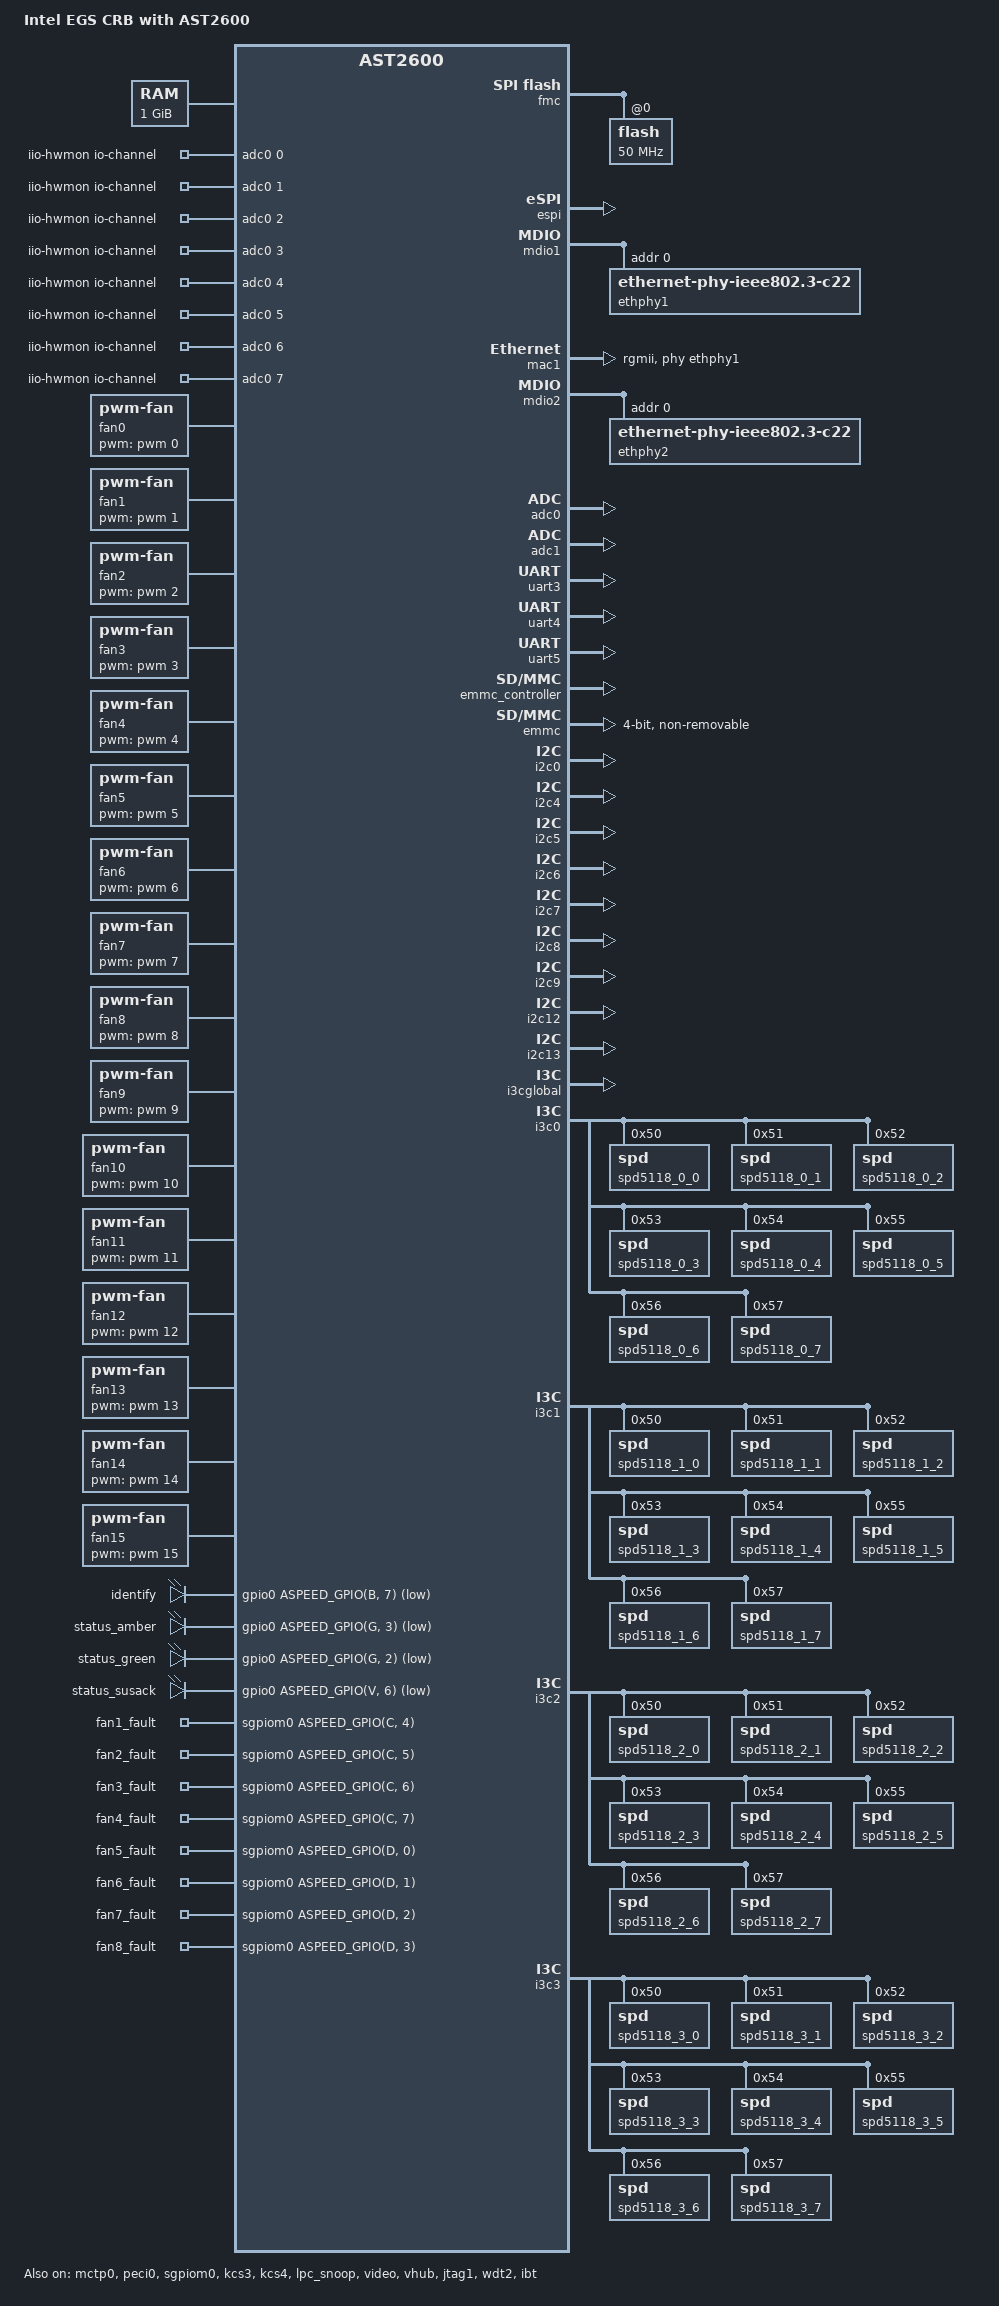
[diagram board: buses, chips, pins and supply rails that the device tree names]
// SPDX-License-Identifier: GPL-2.0+
/dts-v1/;

#include "aspeed-g6.dtsi"
#include <dt-bindings/gpio/aspeed-gpio.h>
#include <dt-bindings/i2c/i2c.h>

/ {
	model = "Intel EGS CRB with AST2600";
	compatible = "aspeed,ast2600";

	aliases {
		serial4 = &uart5;
	};

	chosen {
		stdout-path = &uart5;
		bootargs = "console=ttyS4,115200n8 root=/dev/ram rw init=/linuxrc earlyprintk";
	};

	memory@80000000 {
		device_type = "memory";
		reg = <0x80000000 0x40000000>;
	};

	reserved-memory {
		#address-cells = <1>;
		#size-cells = <1>;
		ranges;

		gfx_memory: framebuffer {
			size = <0x01000000>;
			alignment = <0x01000000>;
			compatible = "shared-dma-pool";
			reusable;
		};

		video_engine_memory: jpegbuffer {
			size = <0x04000000>;
			alignment = <0x01000000>;
			compatible = "shared-dma-pool";
			reusable;
		};
	};

	vga-shared-memory {
		compatible = "aspeed,ast2500-vga-sharedmem";
		reg = <0x9f700000 0x100000>;
	};

	iio-hwmon {
		compatible = "iio-hwmon";
		io-channels = <&adc0 0>, <&adc0 1>, <&adc0 2>, <&adc0 3>,
			<&adc0 4>, <&adc0 5>, <&adc0 6>, <&adc0 7>,
			<&adc1 0>, <&adc1 1>, <&adc1 2>, <&adc1 3>,
			<&adc1 4>, <&adc1 5>, <&adc1 6>, <&adc1 7>;
	};

	fan0: pwm-fan0 {
		compatible = "pwm-fan";
		pwms = <&pwm 0 40000 0>;	/* Target freq:25 kHz */
		cooling-min-state = <0>;
		cooling-max-state = <3>;
		#cooling-cells = <2>;
		cooling-levels = <0 25 128 255>;
	};

	fan1: pwm-fan1 {
		compatible = "pwm-fan";
		pwms = <&pwm 1 40000 0>;	/* Target freq:25 kHz */
		cooling-min-state = <0>;
		cooling-max-state = <3>;
		#cooling-cells = <2>;
		cooling-levels = <0 15 128 255>;
	};

	fan2: pwm-fan2 {
		compatible = "pwm-fan";
		pwms = <&pwm 2 40000 0>;	/* Target freq:25 kHz */
		cooling-min-state = <0>;
		cooling-max-state = <3>;
		#cooling-cells = <2>;
		cooling-levels = <0 15 128 255>;
	};

	fan3: pwm-fan3 {
		compatible = "pwm-fan";
		pwms = <&pwm 3 1 40000 0>;	  /* Target freq:25 kHz */
		cooling-min-state = <0>;
		cooling-max-state = <3>;
		#cooling-cells = <2>;
		cooling-levels = <0 15 128 255>;
	};

	fan4: pwm-fan4 {
		compatible = "pwm-fan";
		pwms = <&pwm 4 1 40000 0>;	  /* Target freq:25 kHz */
		cooling-min-state = <0>;
		cooling-max-state = <3>;
		#cooling-cells = <2>;
		cooling-levels = <0 15 128 255>;
	};

	fan5: pwm-fan5 {
		compatible = "pwm-fan";
		pwms = <&pwm 5 1 40000 0>;	  /* Target freq:25 kHz */
		cooling-min-state = <0>;
		cooling-max-state = <3>;
		#cooling-cells = <2>;
		cooling-levels = <0 15 128 255>;
	};

	fan6: pwm-fan6 {
		compatible = "pwm-fan";
		pwms = <&pwm 6 1 40000 0>;	  /* Target freq:25 kHz */
		cooling-min-state = <0>;
		cooling-max-state = <3>;
		#cooling-cells = <2>;
		cooling-levels = <0 15 128 255>;
	};

	fan7: pwm-fan7 {
		compatible = "pwm-fan";
		pwms = <&pwm 7 1 40000 0>;	  /* Target freq:25 kHz */
		cooling-min-state = <0>;
		cooling-max-state = <3>;
		#cooling-cells = <2>;
		cooling-levels = <0 15 128 255>;
	};

	fan8: pwm-fan8 {
		compatible = "pwm-fan";
		pwms = <&pwm 8 1 40000 0>;	  /* Target freq:25 kHz */
		cooling-min-state = <0>;
		cooling-max-state = <3>;
		#cooling-cells = <2>;
		cooling-levels = <0 15 128 255>;
	};

	fan9: pwm-fan9 {
		compatible = "pwm-fan";
		pwms = <&pwm 9 40000 0>;	/* Target freq:25 kHz */
		cooling-min-state = <0>;
		cooling-max-state = <3>;
		#cooling-cells = <2>;
		cooling-levels = <0 15 128 255>;
	};

	fan10: pwm-fan10 {
		compatible = "pwm-fan";
		pwms = <&pwm 10 40000 0>;	 /* Target freq:25 kHz */
		cooling-min-state = <0>;
		cooling-max-state = <3>;
		#cooling-cells = <2>;
		cooling-levels = <0 15 128 255>;
	};

	fan11: pwm-fan11 {
		compatible = "pwm-fan";
		pwms = <&pwm 11 40000 0>;	 /* Target freq:25 kHz */
		cooling-min-state = <0>;
		cooling-max-state = <3>;
		#cooling-cells = <2>;
		cooling-levels = <0 15 128 255>;
	};

	fan12: pwm-fan12 {
		compatible = "pwm-fan";
		pwms = <&pwm 12 40000 0>;	 /* Target freq:25 kHz */
		cooling-min-state = <0>;
		cooling-max-state = <3>;
		#cooling-cells = <2>;
		cooling-levels = <0 15 128 255>;
	};

	fan13: pwm-fan13 {
		compatible = "pwm-fan";
		pwms = <&pwm 13 40000 0>;	 /* Target freq:25 kHz */
		cooling-min-state = <0>;
		cooling-max-state = <3>;
		#cooling-cells = <2>;
		cooling-levels = <0 15 128 255>;
	};

	fan14: pwm-fan14 {
		compatible = "pwm-fan";
		pwms = <&pwm 14 40000 0>;	 /* Target freq:25 kHz */
		cooling-min-state = <0>;
		cooling-max-state = <3>;
		#cooling-cells = <2>;
		cooling-levels = <0 15 128 255>;
	};

	fan15: pwm-fan15 {
		compatible = "pwm-fan";
		pwms = <&pwm 15 40000 0>;	 /* Target freq:25 kHz */
		cooling-min-state = <0>;
		cooling-max-state = <3>;
		#cooling-cells = <2>;
		cooling-levels = <0 15 128 255>;
	};

	leds {
		compatible = "gpio-leds";

		identify {
			default-state = "off";
			gpios = <&gpio0 ASPEED_GPIO(B, 7) GPIO_ACTIVE_LOW>;
		};

		status_amber {
			default-state = "off";
			gpios = <&gpio0 ASPEED_GPIO(G, 3) GPIO_ACTIVE_LOW>;
		};

		status_green {
			default-state = "keep";
			gpios = <&gpio0 ASPEED_GPIO(G, 2) GPIO_ACTIVE_LOW>;
		};

		status_susack {
			default-state = "off";
			gpios = <&gpio0 ASPEED_GPIO(V, 6) GPIO_ACTIVE_LOW>;
		};

		fan1_fault {
			default-state = "off";
			gpios = <&sgpiom0 ASPEED_GPIO(C, 4) GPIO_ACTIVE_HIGH>;
		};

		fan2_fault {
			default-state = "off";
			gpios = <&sgpiom0 ASPEED_GPIO(C, 5) GPIO_ACTIVE_HIGH>;
		};

		fan3_fault {
			default-state = "off";
			gpios = <&sgpiom0 ASPEED_GPIO(C, 6) GPIO_ACTIVE_HIGH>;
		};

		fan4_fault {
			default-state = "off";
			gpios = <&sgpiom0 ASPEED_GPIO(C, 7) GPIO_ACTIVE_HIGH>;
		};

		fan5_fault {
			default-state = "off";
			gpios = <&sgpiom0 ASPEED_GPIO(D, 0) GPIO_ACTIVE_HIGH>;
		};

		fan6_fault {
			default-state = "off";
			gpios = <&sgpiom0 ASPEED_GPIO(D, 1) GPIO_ACTIVE_HIGH>;
		};

		fan7_fault {
			default-state = "off";
			gpios = <&sgpiom0 ASPEED_GPIO(D, 2) GPIO_ACTIVE_HIGH>;
		};

		fan8_fault {
			default-state = "off";
			gpios = <&sgpiom0 ASPEED_GPIO(D, 3) GPIO_ACTIVE_HIGH>;
		};
	};
};

&fmc {
	status = "okay";
	flash@0 {
		status = "okay";
		spi-max-frequency = <50000000>;
		spi-tx-bus-width = <1>;
		spi-rx-bus-width = <4>;
		m25p,fast-read;
#include "aspeed-evb-flash-layout-64.dtsi"
	};
};

&espi {
	status = "okay";
	perif-dma-mode;
	oob-dma-mode;
	flash-dma-mode;
};

&mctp0 {
	status = "okay";
};

&peci0 {
	status = "okay";
	gpios = <&gpio0 ASPEED_GPIO(F, 6) 0>;
};

&syscon {
	mac0-clk-delay = <0x1d 0x1c
			  0x10 0x17
			  0x10 0x17>;
	mac1-clk-delay = <0x1d 0x10
			  0x10 0x10
			  0x10 0x10>;
	mac2-clk-delay = <0x0a 0x04
			  0x08 0x04
			  0x08 0x04>;
	mac3-clk-delay = <0x0a 0x04
			  0x08 0x04
			  0x08 0x04>;
};

#if 0
GPIO Alias: (runtime alias -> schematic name)
	ID_BUTTON -> FP_ID_BTN_N
	CPU_CATERR -> FM_PLT_BMC_THERMTRIP_N
	PCH_BMC_THERMTRIP -> FM_PLT_BMC_THERMTRIP_N
	RESET_BUTTON -> FP_BMC_RST_BTN_N
	RESET_OUT -> RST_BMC_RSTBTN_OUT_R_N
	POWER_BUTTON -> FP_BMC_PWR_BTN_R_N
	POWER_OUT -> FM_BMC_PWR_BTN_N
	PREQ_N -> DBP_ASD_BMC_PREQ_R_N
	POST_COMPLETE -> FM_BIOS_POST_CMPLT_BMC_N
	CPU_ERR0 -> FM_CPU_ERR0_LVT3_N
	CPU_ERR1 -> FM_CPU_ERR1_LVT3_N
	CPU_ERR2 -> FM_CPU_ERR2_LVT3_N
	DEBUG_EN_N -> FM_JTAG_TCK_MUX_SEL_R
	NMI_OUT -> IRQ_BMC_CPU_NMI_R
	PLTRST_N -> RST_PLTRST_BMC_N
	PRDY_N -> DBP_ASD_BMC_PRDY_R_N
	PWR_DEBUG_N ->
	XDP_PRST_N ->
	SYSPWROK ->
	RSMRST_N ->
	SIO_S3 -> FM_SLPS3_R_N
	SIO_S5 -> FM_SLPS4_R_N
	SIO_ONCONTROL -> FM_BMC_ONCTL_R_N
	SIO_POWER_GOOD -> PWRGD_CPU0_LVC3_R
	PS_PWROK -> PWRGD_BMC_PS_PWROK_R
	P3VBAT_BRIDGE_EN ->
	TCK_MUX_SEL ->
	SMI -> IRQ_SMI_ACTIVE_BMC_N
	NMI_BUTTON -> FP_NMI_BTN_N
#endif
&gpio0 {
	status = "okay";
	/*
	 * Enable GPIOP0 and GPIOP2 pass-through by default
	 */
	/*
	 * pinctrl-names = "pass-through";
	 * pinctrl-0 = <&pinctrl_thru0_default
	 *              &pinctrl_thru1_default>;
	 */
	gpio-line-names =
	/*A0-A7*/	"","","","","SMB_CPU_PIROM_SCL","SMB_CPU_PIROM_SDA","SMB_IPMB_STBY_LVC3_R_SCL","SMB_IPMB_STBY_LVC3_R_SDA",
	/*B0-B7*/	"FM_1200VA_OC","NMI_OUT","IRQ_SMB3_M2_ALERT_N","","RGMII_BMC_RMM4_LVC3_R_MDC","RGMII_BMC_RMM4_LVC3_R_MDIO","FM_BMC_BMCINIT_R","FP_ID_LED_N",
	/*C0-C7*/	"FM_FORCE_BMC_UPDATE_N","RST_RGMII_PHYRST_N","FM_TPM_EN_PULSE","FM_BMC_CRASHLOG_TRIG_N","IRQ_BMC_PCH_NMI_R","FM_CPU1_DISABLE_COD_N","FM_4S_8S_N_MODE","FM_STANDALONE_MODE_N",
	/*D0-D7*/	"CPU_ERR0","CPU_ERR1","CPU_ERR2","PRDY_N","FM_SPD_SWITCH_CTRL_N","","","",
	/*E0-E7*/	"FM_SKT1_FAULT_LED","FM_SKT0_FAULT_LED","CLK_50M_CKMNG_BMCB","FM_BMC_BOARD_REV_ID2_N","","","","",
	/*F0-F7*/	"FM_BMC_BOARD_SKU_ID0_N","FM_BMC_BOARD_SKU_ID1_N","FM_BMC_BOARD_SKU_ID2_N","FM_BMC_BOARD_SKU_ID3_N","FM_BMC_BOARD_SKU_ID4_N","FM_BMC_BOARD_SKU_ID5_N","ID_BUTTON","PS_PWROK",
	/*G0-G7*/	"FM_SMB_BMC_NVME_LVC3_ALERT_N","RST_BMC_I2C_M2_R_N","FP_LED_STATUS_GREEN_N","FP_LED_STATUS_AMBER_N","FM_BMC_BOARD_REV_ID0_N","FM_BMC_BOARD_REV_ID1_N","FM_BMC_CPU_FBRK_OUT_R_N","DBP_PRESENT_IN_R2_N",
	/*H0-H7*/	"SGPIO_BMC_CLK_R","SGPIO_BMC_LD_R","SGPIO_BMC_DOUT_R","SGPIO_BMC_DIN","PLTRST_N","CPU_CATERR","PCH_BMC_THERMTRIP","",
	/*I0-I7*/	"JTAG_ASD_NTRST_R_N","JTAG_ASD_TDI_R","JTAG_ASD_TCK_R","JTAG_ASD_TMS_R","JTAG_ASD_TDO","FM_BMC_PWRBTN_OUT_R_N","FM_BMC_PWR_BTN_N","",
	/*J0-J7*/	"SMB_CHASSENSOR_STBY_LVC3_SCL","SMB_CHASSENSOR_STBY_LVC3_SDA","FM_NODE_ID0","FM_NODE_ID1","","","","",
	/*K0-K7*/	"SMB_HSBP_STBY_LVC3_R_SCL","SMB_HSBP_STBY_LVC3_R_SDA","SMB_SMLINK0_STBY_LVC3_R2_SCL","SMB_SMLINK0_STBY_LVC3_R2_SDA","SMB_TEMPSENSOR_STBY_LVC3_R_SCL","SMB_TEMPSENSOR_STBY_LVC3_R_SDA","SMB_PMBUS_SML1_STBY_LVC3_R_SCL","SMB_PMBUS_SML1_STBY_LVC3_R_SDA",
	/*L0-L7*/	"SMB_PCIE_STBY_LVC3_R_SCL","SMB_PCIE_STBY_LVC3_R_SDA","SMB_HOST_STBY_BMC_LVC3_R_SCL","SMB_HOST_STBY_BMC_LVC3_R_SDA","PREQ_N","TCK_MUX_SEL","V_BMC_GFX_HSYNC_R","V_BMC_GFX_VSYNC_R",
	/*M0-M7*/	"SPA_CTS_N","SPA_DCD_N","SPA_DSR_N","PU_SPA_RI_N","SPA_DTR_N","SPA_RTS_N","SPA_SOUT","SPA_SIN",
	/*N0-N7*/	"SPB_CTS_N","SPB_DCD_N","SPB_DSR_N","PU_SPB_RI_N","SPB_DTR_N","SPB_RTS_N","SPB_SOUT","SPB_SIN",
	/*O0-O7*/	"FAN_BMC_PWM0","FAN_BMC_PWM1","FAN_BMC_PWM2","FAN_BMC_PWM3","FAN_BMC_PWM4","FAN_BMC_PWM5","NMI_BUTTON","SPEAKER_BMC_R",
	/*P0-P7*/	"RESET_BUTTON","RESET_OUT","POWER_BUTTON","POWER_OUT","FAN_BMC_PWM6","FAN_BMC_PWM7","FAN_BMC_PWM8","FAN_BMC_PWM9",
	/*Q0-Q7*/	"FAN_BMC_TACH0","FAN_BMC_TACH1","FAN_BMC_TACH2","FAN_BMC_TACH3","FAN_BMC_TACH4","FAN_BMC_TACH5","FAN_BMC_TACH6","FAN_BMC_TACH7",
	/*R0-R7*/	"FAN_BMC_TACH8","FAN_BMC_TACH9","","","","","","",
	/*S0-S7*/	"RST_BMC_PCIE_MUX_N","FM_BMC_EUP_LOT6_N","","","","A_P3V_BAT_SCALED_EN","REMOTE_DEBUG_ENABLE","FM_PCHHOT_N",
	/*T0-T7*/	"A_P12V_PSU_SCALED","A_P12V_AUX_SCALED","A_P3V3_SCALED","A_P5V_SCALED","A_PVNN_PCH_AUX_SENSOR","A_P1V05_PCH_AUX_SENSOR","A_P1V8_AUX_SENSOR","A_P3V_BAT_SCALED",
	/*U0-U7*/	"A_PVCCIN_CPU0_SENSOR","A_PVCCIN_CPU1_SENSOR","A_PVCCINFAON_CPU0_SENSOR","A_PVCCINFAON_CPU1_SENSOR","A_PVCCFA_EHV_FIVRA_CPU0_SENSOR","A_PVCCFA_EHV_FIVRA_CPU1_SENSOR","A_PVCCD_HV_CPU0_SENSOR","A_PVCCD_HV_CPU1_SENSOR",
	/*V0-V7*/	"SIO_S3","SIO_S5","TP_BMC_SIO_PWREQ_N","SIO_ONCONTROL","SIO_POWER_GOOD","LED_BMC_HB_LED_N","FM_BMC_SUSACK_N","",
	/*W0-W7*/	"LPC_LAD0_ESPI_R_IO0","LPC_LAD1_ESPI_R_IO1","LPC_LAD2_ESPI_R_IO2","LPC_LAD3_ESPI_R_IO3","CLK_24M_66M_LPC0_ESPI_BMC","LPC_LFRAME_N_ESPI_CS0_BMC_N","IRQ_LPC_SERIRQ_ESPI_ALERT_N","RST_LPC_LRST_ESPI_RST_BMC_R_N",
	/*X0-X7*/	"","SMI","POST_COMPLETE","","","","","",
	/*Y0-Y7*/	"","IRQ_SML0_ALERT_BMC_R2_N","","IRQ_SML1_PMBUS_BMC_ALERT_N","SPI_BMC_BOOT_R_IO2","SPI_BMC_BOOT_R_IO3","PU_SPI_BMC_BOOT_ABR","PU_SPI_BMC_BOOT_WP_N",
	/*Z0-Z7*/	"PWRGD_P3V3_RISER1","PWRGD_P3V3_RISER2","","HW_STRAP_5","HW_STRAP_6","HW_STRAP_7","HW_STRAP_2","HW_STRAP_3";
};

&gpio1 {
	status = "okay";
	gpio-line-names = /* GPIO18 A-E */
	/*A0-A7*/	"","","RST_EMMC_BMC_R_N","FM_SYS_FAN6_PRSNT_D_N","FM_SYS_FAN0_PRSNT_D_N","FM_SYS_FAN1_PRSNT_D_N","FM_SYS_FAN2_PRSNT_D_N","FM_SYS_FAN3_PRSNT_D_N",
	/*B0-B7*/	"FM_SYS_FAN4_PRSNT_D_N","FM_SYS_FAN5_PRSNT_D_N","","FM_SYS_FAN7_PRSNT_D_N","RGMII_BMC_RMM4_TX_R_CLK","RGMII_BMC_RMM4_TX_R_CTRL","RGMII_BMC_RMM4_R_TXD0","RGMII_BMC_RMM4_R_TXD1",
	/*C0-C7*/	"RGMII_BMC_RMM4_R_TXD2","RGMII_BMC_RMM4_R_TXD3","RGMII_BMC_RMM4_RX_CLK","RGMII_BMC_RMM4_RX_CTRL","RGMII_BMC_RMM4_RXD0","RGMII_BMC_RMM4_RXD1","RGMII_BMC_RMM4_RXD2","RGMII_BMC_RMM4_RXD3",
	/*D0-D7*/	"EMMC_BMC_R_CLK","EMMC_BMC_R_CMD","EMMC_BMC_R_DATA0","EMMC_BMC_R_DATA1","EMMC_BMC_R_DATA2","EMMC_BMC_R_DATA3","EMMC_BMC_CD_N","EMMC_BMC_WP_N",
	/*E0-E3*/	"EMMC_BMC_R_DATA4","EMMC_BMC_R_DATA5","EMMC_BMC_R_DATA6","EMMC_BMC_R_DATA7";
};

&sgpiom0 {
	status = "okay";
	ngpios = <96>;
#if 0
SGPIO Alias: (runtime alias -> net name)
	CPU1_PRESENCE -> FM_CPU0_SKTOCC_LVT3_N
	CPU1_THERMTRIP -> H_CPU0_THERMTRIP_LVC1_N
	CPU1_VRHOT -> IRQ_CPU0_VRHOT_N
	CPU1_FIVR_FAULT -> H_CPU0_MON_FAIL_LVC1_N
	CPU1_MEM_VRHOT -> IRQ_CPU0_MEM_VRHOT_N
	CPU1_MEM_THERM_EVENT -> H_CPU0_MEMHOT_OUT_LVC1_N
	CPU1_MISMATCH -> FM_CPU0_MISMATCH
	CPU2_PRESENCE -> FM_CPU1_SKTOCC_LVT3_N
	CPU2_THERMTRIP -> H_CPU1_THERMTRIP_LVC1_N
	CPU2_VRHOT -> IRQ_CPU1_VRHOT_N
	CPU2_FIVR_FAULT -> H_CPU1_MON_FAIL_LVC1_N
	CPU2_MEM_VRHOT -> IRQ_CPU1_MEM_VRHOT_N
	CPU2_MEM_THERM_EVENT -> H_CPU1_MEMHOT_OUT_LVC1_N
	CPU2_MISMATCH -> FM_CPU1_MISMATCH
#endif
	gpio-line-names =
		"CPU1_PRESENCE","","CPU1_THERMTRIP","","CPU1_VRHOT","","CPU1_FIVR_FAULT","",
		"CPU1_MEM_VRHOT","","CPU1_MEM_THERM_EVENT","","FM_CPU0_PROC_ID0","","FM_CPU0_PROC_ID1","",
		"CPU1_MISMATCH","LED_CPU1_CH1_DIMM1_FAULT","","LED_CPU1_CH1_DIMM2_FAULT","CPU2_PRESENCE","LED_CPU1_CH2_DIMM1_FAULT","CPU2_THERMTRIP","LED_CPU1_CH2_DIMM2_FAULT",
		"CPU2_VRHOT","LED_CPU1_CH3_DIMM1_FAULT","CPU2_FIVR_FAULT","LED_CPU1_CH3_DIMM2_FAULT","CPU2_MEM_VRHOT","LED_CPU1_CH4_DIMM1_FAULT","CPU2_MEM_THERM_EVENT","LED_CPU1_CH4_DIMM2_FAULT",
		"FM_CPU1_PROC_ID0","LED_CPU1_CH5_DIMM1_FAULT","FM_CPU1_PROC_ID1","LED_CPU1_CH5_DIMM2_FAULT","CPU2_MISMATCH","LED_CPU1_CH6_DIMM1_FAULT","","LED_CPU1_CH6_DIMM2_FAULT",
		"","LED_FAN1_FAULT","","LED_FAN2_FAULT","","LED_FAN3_FAULT","","LED_FAN4_FAULT",
		"","LED_FAN5_FAULT","","LED_FAN6_FAULT","","LED_FAN7_FAULT","","LED_FAN8_FAULT",
		"","LED_CPU2_CH1_DIMM1_FAULT","","LED_CPU1_CH1_DIMM2_FAULT","","LED_CPU2_CH2_DIMM1_FAULT","","LED_CPU2_CH2_DIMM2_FAULT",
		"","LED_CPU2_CH3_DIMM1_FAULT","","LED_CPU2_CH3_DIMM2_FAULT","","LED_CPU2_CH4_DIMM1_FAULT","","LED_CPU2_CH4_DIMM2_FAULT",
		"","LED_CPU2_CH5_DIMM1_FAULT","","LED_CPU2_CH5_DIMM2_FAULT","","LED_CPU2_CH6_DIMM1_FAULT","","LED_CPU2_CH6_DIMM2_FAULT",
		"CPU1_CPLD_CRC_ERROR","","CPU2_CPLD_CRC_ERROR","","","","","",
		"","","","","","","","",
		"MAIN_PLD_MINOR_REV_BIT0","","MAIN_PLD_MINOR_REV_BIT1","","MAIN_PLD_MINOR_REV_BIT2","","MAIN_PLD_MINOR_REV_BIT3","",
		"MAIN_PLD_MAJOR_REV_BIT0","","MAIN_PLD_MAJOR_REV_BIT1","","MAIN_PLD_MAJOR_REV_BIT2","","MAIN_PLD_MAJOR_REV_BIT3","",
		"","","WMEMX_PWR_FLT","","WCPUX_MEM_PWR_FLT","","PWRGD_P3V3_FF","",
		"WPSU_PWR_FLT","","","","","","WPCH_PWR_FLT","",
		"FM_CPU0_PKGID0","LED_CPU1_CH7_DIMM1_FAULT","FM_CPU0_PKGID1","LED_CPU1_CH7_DIMM2_FAULT","FM_CPU0_PKGID2","LED_CPU1_CH8_DIMM1_FAULT","H_CPU0_MEMTRIP_LVC1_N","LED_CPU1_CH8_DIMM2_FAULT",
		"FM_CPU1_PKGID0","LED_CPU2_CH7_DIMM1_FAULT","FM_CPU1_PKGID1","LED_CPU2_CH7_DIMM2_FAULT","FM_CPU1_PKGID2","LED_CPU2_CH8_DIMM1_FAULT","H_CPU1_MEMTRIP_LVC1_N","LED_CPU2_CH8_DIMM2_FAULT",
		"","","","","","","","",
		"","","","","","","","",
		"","","","","","","","",
		"","","","","","","","",
		"","","","","","","","",
		"","","","","","","","";
};

&kcs3 {
	kcs_addr = <0xca2>;
	status = "okay";
};

&kcs4 {
	kcs_addr = <0xca4>;
	status = "okay";
};

&lpc_snoop {
	snoop-ports = <0x80>;
	status = "okay";
};

&mbox {
	status = "okay";
};

&mdio1 {
	status = "okay";

	ethphy1: ethernet-phy@0 {
		compatible = "ethernet-phy-ieee802.3-c22";
		reg = <0>;
	};
};

&mac1 {
	status = "okay";
	pinctrl-names = "default";
	pinctrl-0 = <&pinctrl_rgmii2_default>;
	clocks = <&syscon ASPEED_CLK_GATE_MAC2CLK>,
		 <&syscon ASPEED_CLK_MAC2RCLK>;
	clock-names = "MACCLK", "RCLK";
	phy-mode = "rgmii";
	phy-handle = <&ethphy1>;
};

&mdio2 {
	status = "okay";

	ethphy2: ethernet-phy@1 {
		compatible = "ethernet-phy-ieee802.3-c22";
		reg = <0>;
	};
};

&adc0 {
	vref = <2500>;
	status = "okay";

	pinctrl-names = "default";
	pinctrl-0 = <&pinctrl_adc0_default &pinctrl_adc1_default
		&pinctrl_adc2_default &pinctrl_adc3_default
		&pinctrl_adc4_default &pinctrl_adc5_default
		&pinctrl_adc6_default &pinctrl_adc7_default>;
};

&adc1 {
	vref = <2500>;
	status = "okay";

	pinctrl-names = "default";
	pinctrl-0 = <&pinctrl_adc8_default &pinctrl_adc9_default
		&pinctrl_adc10_default &pinctrl_adc11_default
		&pinctrl_adc12_default &pinctrl_adc13_default
		&pinctrl_adc14_default &pinctrl_adc15_default>;
};

&uart3 {
	status = "okay";
};

&uart4 {
	status = "okay";
};

&uart5 {
	status = "okay";
};

&emmc_controller{
	status = "okay";
	timing-phase = <0x700FF>;
};

&emmc {
	status = "okay";

	non-removable;
	max-frequency = <100000000>;
	sdhci-drive-type = /bits/ 8 <3>;
	bus-width = <4>;
};

&i2c0 {
	/* SMB_CHASSENSOR_STBY_LVC3 */
	multi-master;
	status = "okay";
};

&i2c4 {
	/* SMB_HSBP_STBY_LVC3_R */
	multi-master;
	status = "okay";
};

&i2c5 {
	/* SMB_SMLINK0_STBY_LVC3_R2 */
	bus-frequency = <1000000>;
	multi-master;
	status = "okay";
};

&i2c6 {
	/* SMB_TEMPSENSOR_STBY_LVC3_R */
	multi-master;
	status = "okay";
};

&i2c7 {
	/* SMB_PMBUS_SML1_STBY_LVC3_R */
	multi-master;
	#retries = <3>;
	status = "okay";
};

&i2c8 {
	/* SMB_PCIE_STBY_LVC3_R */
	multi-master;
	status = "okay";
};

&i2c9 {
	/* SMB_HOST_STBY_BMC_LVC3_R */
	multi-master;
	status = "okay";
};

&i2c12 {
	/* SMB_CPU_PIROM */
	multi-master;
	status = "okay";
};

&i2c13 {
	/* SMB_IPMB_STBY_LVC3_R */
	multi-master;
	status = "okay";
};

&i3cglobal {
	status = "okay";
};

&i3c0 {
	/* I3C_SPD_DDRABCD_CPU0_BMC */
	status = "okay";
	jdec-spd;

	/* Renesas SPD5118 */
	spd5118_0_0: spd@50,3C000000000 {
		reg = <0x50 0x3C0 0x00000000>;
		assigned-address = <0x50>;
	};

	/* Renesas SPD5118 */
	spd5118_0_1: spd@51,3C000000001 {
		reg = <0x51 0x3C0 0x00000001>;
		assigned-address = <0x51>;
	};

	/* Renesas SPD5118 */
	spd5118_0_2: spd@52,3C000000002 {
		reg = <0x52 0x3C0 0x00000002>;
		assigned-address = <0x52>;
	};

	/* Renesas SPD5118 */
	spd5118_0_3: spd@53,3C000000003 {
		reg = <0x53 0x3C0 0x00000003>;
		assigned-address = <0x53>;
	};

	/* Renesas SPD5118 */
	spd5118_0_4: spd@54,3C000000004 {
		reg = <0x54 0x3C0 0x00000004>;
		assigned-address = <0x54>;
	};

	/* Renesas SPD5118 */
	spd5118_0_5: spd@55,3C000000005 {
		reg = <0x55 0x3C0 0x00000005>;
		assigned-address = <0x55>;
	};

	/* Renesas SPD5118 */
	spd5118_0_6: spd@56,3C000000006 {
		reg = <0x56 0x3C0 0x00000006>;
		assigned-address = <0x56>;
	};

	/* Renesas SPD5118 */
	spd5118_0_7: spd@57,3C000000007 {
		reg = <0x57 0x3C0 0x00000007>;
		assigned-address = <0x57>;
	};
};

&i3c1 {
	/* I3C_SPD_DDREFGH_CPU0_BMC */
	status = "okay";
	jdec-spd;

	/* Renesas SPD5118 */
	spd5118_1_0: spd@50,3C000000000 {
		reg = <0x50 0x3C0 0x00000000>;
		assigned-address = <0x50>;
	};

	/* Renesas SPD5118 */
	spd5118_1_1: spd@51,3C000000001 {
		reg = <0x51 0x3C0 0x00000001>;
		assigned-address = <0x51>;
	};

	/* Renesas SPD5118 */
	spd5118_1_2: spd@52,3C000000002 {
		reg = <0x52 0x3C0 0x00000002>;
		assigned-address = <0x52>;
	};

	/* Renesas SPD5118 */
	spd5118_1_3: spd@53,3C000000003 {
		reg = <0x53 0x3C0 0x00000003>;
		assigned-address = <0x53>;
	};

	/* Renesas SPD5118 */
	spd5118_1_4: spd@54,3C000000004 {
		reg = <0x54 0x3C0 0x00000004>;
		assigned-address = <0x54>;
	};

	/* Renesas SPD5118 */
	spd5118_1_5: spd@55,3C000000005 {
		reg = <0x55 0x3C0 0x00000005>;
		assigned-address = <0x55>;
	};

	/* Renesas SPD5118 */
	spd5118_1_6: spd@56,3C000000006 {
		reg = <0x56 0x3C0 0x00000006>;
		assigned-address = <0x56>;
	};

	/* Renesas SPD5118 */
	spd5118_1_7: spd@57,3C000000007 {
		reg = <0x57 0x3C0 0x00000007>;
		assigned-address = <0x57>;
	};
};

&i3c2 {
	/* I3C_SPD_DDRABCD_CPU1_BMC */
	status = "okay";
	jdec-spd;

	/* Renesas SPD5118 */
	spd5118_2_0: spd@50,3C000000000 {
		reg = <0x50 0x3C0 0x00000000>;
		assigned-address = <0x50>;
	};

	/* Renesas SPD5118 */
	spd5118_2_1: spd@51,3C000000001 {
		reg = <0x51 0x3C0 0x00000001>;
		assigned-address = <0x51>;
	};

	/* Renesas SPD5118 */
	spd5118_2_2: spd@52,3C000000002 {
		reg = <0x52 0x3C0 0x00000002>;
		assigned-address = <0x52>;
	};

	/* Renesas SPD5118 */
	spd5118_2_3: spd@53,3C000000003 {
		reg = <0x53 0x3C0 0x00000003>;
		assigned-address = <0x53>;
	};

	/* Renesas SPD5118 */
	spd5118_2_4: spd@54,3C000000004 {
		reg = <0x54 0x3C0 0x00000004>;
		assigned-address = <0x54>;
	};

	/* Renesas SPD5118 */
	spd5118_2_5: spd@55,3C000000005 {
		reg = <0x55 0x3C0 0x00000005>;
		assigned-address = <0x55>;
	};

	/* Renesas SPD5118 */
	spd5118_2_6: spd@56,3C000000006 {
		reg = <0x56 0x3C0 0x00000006>;
		assigned-address = <0x56>;
	};

	/* Renesas SPD5118 */
	spd5118_2_7: spd@57,3C000000007 {
		reg = <0x57 0x3C0 0x00000007>;
		assigned-address = <0x57>;
	};
};

&i3c3 {
	/* I3C_SPD_DDREFGH_CPU1_BMC */
	status = "okay";
	jdec-spd;

	/* Renesas SPD5118 */
	spd5118_3_0: spd@50,3C000000000 {
		reg = <0x50 0x3C0 0x00000000>;
		assigned-address = <0x50>;
	};

	/* Renesas SPD5118 */
	spd5118_3_1: spd@51,3C000000001 {
		reg = <0x51 0x3C0 0x00000001>;
		assigned-address = <0x51>;
	};

	/* Renesas SPD5118 */
	spd5118_3_2: spd@52,3C000000002 {
		reg = <0x52 0x3C0 0x00000002>;
		assigned-address = <0x52>;
	};

	/* Renesas SPD5118 */
	spd5118_3_3: spd@53,3C000000003 {
		reg = <0x53 0x3C0 0x00000003>;
		assigned-address = <0x53>;
	};

	/* Renesas SPD5118 */
	spd5118_3_4: spd@54,3C000000004 {
		reg = <0x54 0x3C0 0x00000004>;
		assigned-address = <0x54>;
	};

	/* Renesas SPD5118 */
	spd5118_3_5: spd@55,3C000000005 {
		reg = <0x55 0x3C0 0x00000005>;
		assigned-address = <0x55>;
	};

	/* Renesas SPD5118 */
	spd5118_3_6: spd@56,3C000000006 {
		reg = <0x56 0x3C0 0x00000006>;
		assigned-address = <0x56>;
	};

	/* Renesas SPD5118 */
	spd5118_3_7: spd@57,3C000000007 {
		reg = <0x57 0x3C0 0x00000007>;
		assigned-address = <0x57>;
	};
};

&video {
	status = "okay";
	compatible = "aspeed,ast2600-video";
	memory-region = <&video_engine_memory>;
};

&vhub {
	status = "okay";
};

&jtag1 {
	status = "okay";
};

&wdt2 {
	status = "okay";
};

&ibt {
	status = "okay";
};
